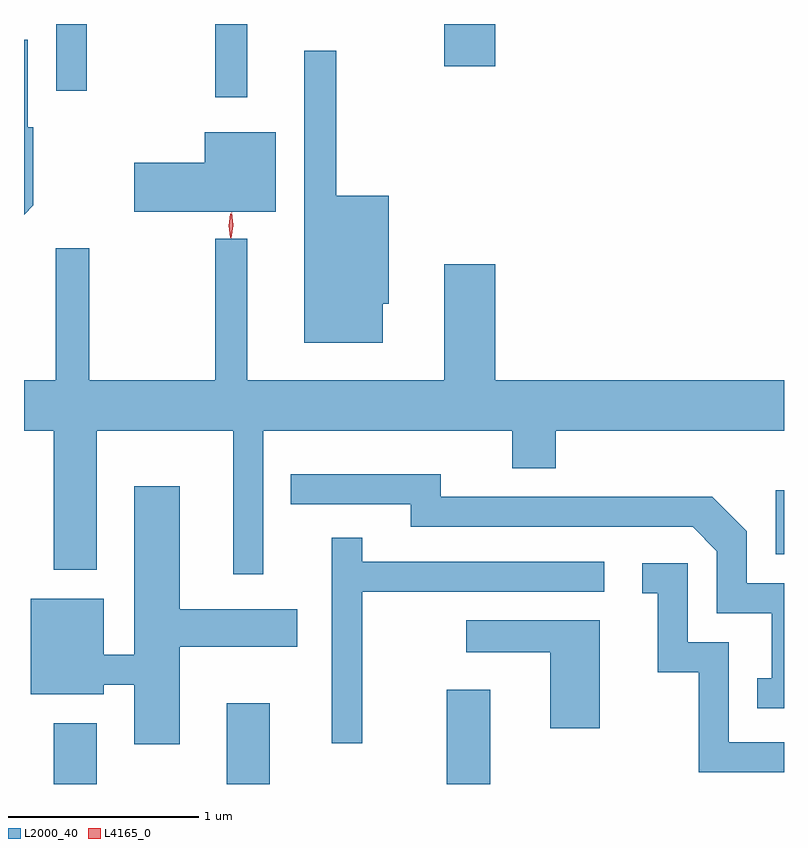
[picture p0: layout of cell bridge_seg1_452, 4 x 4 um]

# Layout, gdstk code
import gdstk
lib = gdstk.Library(unit=1e-6, precision=1e-09)
def R(c, l, rs):  # rectangles x0, y0, x1, y1
    for r in rs: c.add(gdstk.rectangle(r[:2], r[2:], *l))
def P(c, l, *ps):  # polygons
    for p in ps: c.add(gdstk.Polygon(p, *l))
L2000_40 = (2000, 40)
L4165_0 = (4165, 0)

bridge_seg1_452 = lib.new_cell('bridge_seg1_452')
R(bridge_seg1_452, L2000_40, [(233.001,855.538,233.229,855.859), (233.911,855.538,234.139,855.964), (235.071,855.538,235.299,856.034), (236.801,856.746,236.845,857.083), (233.851,859.153,234.019,859.538), (233.016,859.188,233.174,859.538), (235.056,859.316,235.324,859.538)])
P(bridge_seg1_452, L2000_40, [(232.894,858.584),(232.894,858.994),(232.864,858.994),(232.864,859.454),(232.845,859.454),(232.845,858.535)],
  [(234.734,858.066),(234.764,858.066),(234.764,858.634),(234.489,858.634),(234.489,859.398),(234.321,859.398),(234.321,857.861),(234.734,857.861)],
  [(234.169,858.969),(233.796,858.969),(233.796,858.809),(233.426,858.809),(233.426,858.551),(234.169,858.551)],
  [(234.104,857.396),(235.416,857.396),(235.416,857.201),(235.644,857.201),(235.644,857.396),(236.845,857.396),(236.845,857.664),(235.324,857.664),(235.324,858.274),(235.056,858.274),(235.056,857.664),(234.019,857.664),(234.019,858.408),(233.851,858.408),(233.851,857.664),(233.189,857.664),(233.189,858.359),(233.011,858.359),(233.011,857.664),(232.845,857.664),(232.845,857.396),(233.001,857.396),(233.001,856.666),(233.229,856.666),(233.229,857.396),(233.946,857.396),(233.946,856.643),(234.104,856.643)],
  [(236.845,856.594),(236.649,856.594),(236.649,856.867),(236.467,857.049),(235.039,857.049),(235.039,857.169),(234.248,857.169),(234.248,857.011),(234.881,857.011),(234.881,856.891),(236.364,856.891),(236.491,856.764),(236.491,856.436),(236.781,856.436),(236.781,856.094),(236.703,856.094),(236.703,855.936),(236.845,855.936)],
  [(233.664,856.261),(234.284,856.261),(234.284,856.459),(233.664,856.459),(233.664,857.104),(233.426,857.104),(233.426,856.219),(233.264,856.219),(233.264,856.514),(232.881,856.514),(232.881,856.011),(233.264,856.011),(233.264,856.061),(233.426,856.061),(233.426,855.746),(233.664,855.746)],
  [(234.624,856.551),(235.898,856.551),(235.898,856.709),(234.624,856.709),(234.624,856.833),(234.466,856.833),(234.466,855.753),(234.624,855.753)],
  [(236.845,855.759),(236.554,855.759),(236.554,856.284),(236.339,856.284),(236.339,856.699),(236.098,856.699),(236.098,856.541),(236.181,856.541),(236.181,856.126),(236.396,856.126),(236.396,855.601),(236.845,855.601)],
  [(235.874,856.399),(235.173,856.399),(235.173,856.231),(235.616,856.231),(235.616,855.831),(235.874,855.831)])
P(bridge_seg1_452, L4165_0, [(233.931,858.413),(233.922,858.476),(233.931,858.539),(233.932,858.54),(233.932,858.539),(233.942,858.476),(233.932,858.413),(233.932,858.413)],
  [(233.936,858.41),(233.927,858.478),(233.938,858.546),(233.938,858.546),(233.939,858.546),(233.947,858.478),(233.937,858.41),(233.937,858.41)])

lib.write_gds('bridge_seg1_452.gds')
